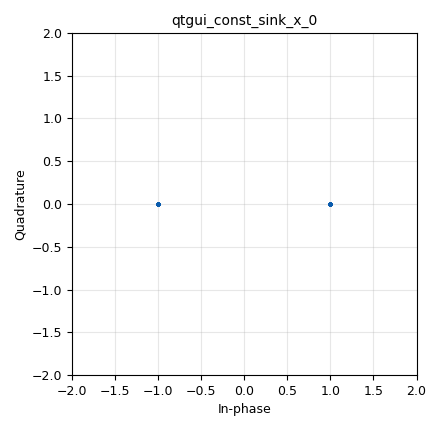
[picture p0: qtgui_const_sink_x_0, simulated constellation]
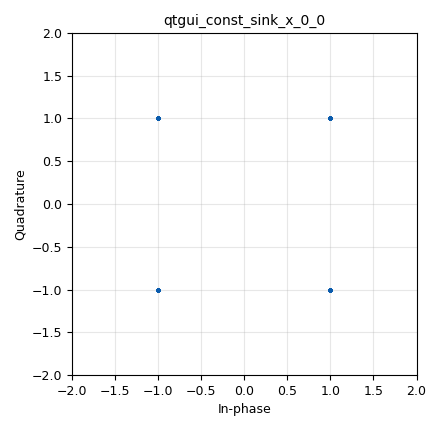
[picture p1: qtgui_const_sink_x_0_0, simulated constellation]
options:
  parameters:
    author: informatica
    generate_options: qt_gui
    id: dwaddad
    output_language: python
    title: Not titled yet
  states: {}

blocks:
- name: samp_rate
  id: variable
  parameters:
    value: '32000'
  states: {}
- name: analog_random_source_x_0
  id: analog_random_source_x
  parameters:
    max: '2'
    min: '0'
    num_samps: '1000'
    repeat: 'True'
    type: int
  states: {}
- name: analog_random_source_x_0_0
  id: analog_random_source_x
  parameters:
    max: '2'
    min: '0'
    num_samps: '1000'
    repeat: 'True'
    type: int
  states: {}
- name: digital_chunks_to_symbols_xx_0
  id: digital_chunks_to_symbols_xx
  parameters:
    dimension: '1'
    in_type: int
    out_type: complex
    symbol_table: '[-1, 1]'
  states: {}
- name: digital_chunks_to_symbols_xx_0_0
  id: digital_chunks_to_symbols_xx
  parameters:
    dimension: '2'
    in_type: int
    out_type: complex
    symbol_table: '[-1-1j,-1+1j,1-1j,1+1j]'
  states: {}
- name: note_0
  id: note
  parameters:
    note: BPSK
  states: {}
- name: note_0_0
  id: note
  parameters:
    note: QPSK
  states: {}
- name: qtgui_const_sink_x_0
  id: qtgui_const_sink_x
  parameters:
    size: '1024'
    type: complex
  states: {}
- name: qtgui_const_sink_x_0_0
  id: qtgui_const_sink_x
  parameters:
    size: '1024'
    type: complex
  states: {}

connections:
- [analog_random_source_x_0, '0', digital_chunks_to_symbols_xx_0, '0']
- [analog_random_source_x_0_0, '0', digital_chunks_to_symbols_xx_0_0, '0']
- [digital_chunks_to_symbols_xx_0, '0', qtgui_const_sink_x_0, '0']
- [digital_chunks_to_symbols_xx_0_0, '0', qtgui_const_sink_x_0_0, '0']

metadata:
  file_format: 1
  grc_version: 3.10.9.2
